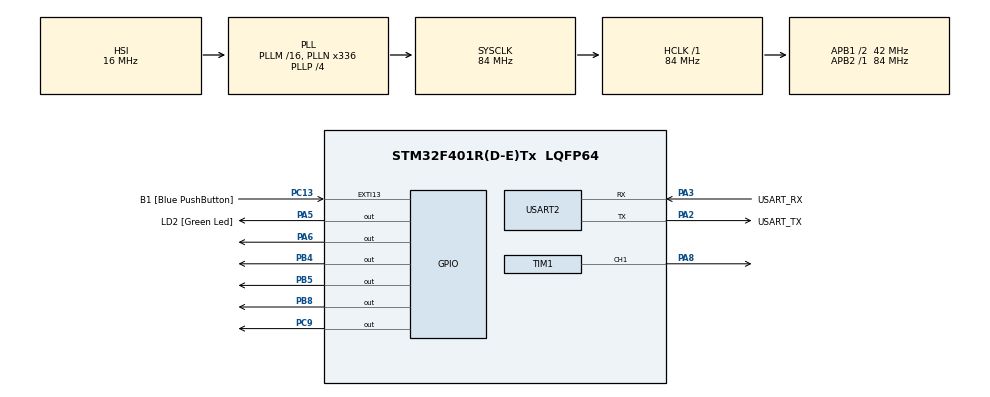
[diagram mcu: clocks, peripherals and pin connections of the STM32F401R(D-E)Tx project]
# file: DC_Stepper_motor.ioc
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Mcu.Family=STM32F4
Mcu.Name=STM32F401R(D-E)Tx
Mcu.Package=LQFP64
NVIC.PriorityGroup=NVIC_PRIORITYGROUP_4
PA13.GPIO_Label=TMS
PA13.Mode=Trace_Asynchronous_SW
PA13.Signal=SYS_JTMS-SWDIO
PA14.GPIO_Label=TCK
PA14.Mode=Trace_Asynchronous_SW
PA14.Signal=SYS_JTCK-SWCLK
PA2.GPIO_Label=USART_TX
PA2.GPIO_Mode=GPIO_MODE_AF_PP
PA2.GPIO_PuPd=GPIO_NOPULL
PA2.GPIO_Speed=GPIO_SPEED_FREQ_LOW
PA2.Mode=Asynchronous
PA2.Signal=USART2_TX
PA3.GPIO_Label=USART_RX
PA3.GPIO_Mode=GPIO_MODE_AF_PP
PA3.GPIO_PuPd=GPIO_NOPULL
PA3.GPIO_Speed=GPIO_SPEED_FREQ_LOW
PA3.Mode=Asynchronous
PA3.Signal=USART2_RX
PA5.GPIO_Label=LD2 [Green Led]
PA5.GPIO_Mode=GPIO_MODE_OUTPUT_PP
PA5.GPIO_PuPd=GPIO_NOPULL
PA5.GPIO_Speed=GPIO_SPEED_FREQ_LOW
PA5.Signal=GPIO_Output
PA6.Signal=GPIO_Output
PA8.Signal=S_TIM1_CH1
PB3.GPIO_Label=SWO
PB3.Mode=Trace_Asynchronous_SW
PB3.Signal=SYS_JTDO-SWO
PB4.Signal=GPIO_Output
PB5.Signal=GPIO_Output
PB8.Signal=GPIO_Output
PC13-ANTI_TAMP.GPIO_Label=B1 [Blue PushButton]
PC13-ANTI_TAMP.GPIO_ModeDefaultEXTI=GPIO_MODE_IT_FALLING
PC13-ANTI_TAMP.GPIO_PuPd=GPIO_NOPULL
PC13-ANTI_TAMP.Signal=GPXTI13
PC14-OSC32_IN.Mode=LSE-External-Oscillator
PC14-OSC32_IN.Signal=RCC_OSC32_IN
PC15-OSC32_OUT.Mode=LSE-External-Oscillator
PC15-OSC32_OUT.Signal=RCC_OSC32_OUT
PC9.Signal=GPIO_Output
PH0\ -\ OSC_IN.Mode=HSE-External-Clock-Source
PH0\ -\ OSC_IN.Signal=RCC_OSC_IN
PH1\ -\ OSC_OUT.Mode=HSE-External-Clock-Source
PH1\ -\ OSC_OUT.Signal=RCC_OSC_OUT
ProjectManager.HeapSize=0x200
ProjectManager.StackSize=0x400
ProjectManager.TargetToolchain=STM32CubeIDE
RCC.48MHZClocksFreq_Value=48000000
RCC.AHBFreq_Value=84000000
RCC.APB1CLKDivider=RCC_HCLK_DIV2
RCC.APB1Freq_Value=42000000
RCC.APB1TimFreq_Value=84000000
RCC.APB2Freq_Value=84000000
RCC.APB2TimFreq_Value=84000000
RCC.CortexFreq_Value=84000000
RCC.HCLKFreq_Value=84000000
RCC.HSE_VALUE=8000000
RCC.HSI_VALUE=16000000
RCC.PLLN=336
RCC.PLLP=RCC_PLLP_DIV4
RCC.PLLQ=7
RCC.SYSCLKFreq_VALUE=84000000
RCC.SYSCLKSource=RCC_SYSCLKSOURCE_PLLCLK
RCC.VCOOutputFreq_Value=336000000
SH.S_TIM1_CH1.0=TIM1_CH1,PWM Generation1 CH1
TIM1.Channel-PWM\ Generation1\ CH1=TIM_CHANNEL_1
TIM1.Period=255
TIM1.Prescaler=32
USART2.VirtualMode=VM_ASYNC
VP_TIM1_VS_ClockSourceINT.Mode=Internal
board=NUCLEO-F401RE

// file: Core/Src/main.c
/* USER CODE BEGIN Header */
/**
  ******************************************************************************
  * @file           : main.c
  * @brief          : Main program body
  ******************************************************************************
  * @attention
  *
  * Copyright (c) 2025 STMicroelectronics.
  * All rights reserved.
  *
  * This software is licensed under terms that can be found in the LICENSE file
  * in the root directory of this software component.
  * If no LICENSE file comes with this software, it is provided AS-IS.
  *
  ******************************************************************************
  */
/* USER CODE END Header */
#include "main.h"

TIM_HandleTypeDef htim1;

UART_HandleTypeDef huart2;

/* USER CODE BEGIN PV */
#define STEP_PIN GPIO_PIN_8
#define STEP_PORT GPIOB
#define DIR_PIN GPIO_PIN_6
#define DIR_PORT GPIOA
/* USER CODE END PV */

void SystemClock_Config(void);
static void MX_GPIO_Init(void);
static void MX_USART2_UART_Init(void);
static void MX_TIM1_Init(void);

int main(void)
{

  /* MCU Configuration--------------------------------------------------------*/

  /* Reset of all peripherals, Initializes the Flash interface and the Systick. */
  HAL_Init();

  /* Configure the system clock */
  SystemClock_Config();

  /* Initialize all configured peripherals */
  MX_GPIO_Init();
  MX_USART2_UART_Init();
  MX_TIM1_Init();
  /* USER CODE BEGIN 2 */
//  HAL_TIM_PWM_Start(&htim1, TIM_CHANNEL_2);
  /* USER CODE END 2 */

  /* Infinite loop */
  while (1)
  {

    /* USER CODE BEGIN 3 */
//	  static int step_count = 0;
	  //	 static int total_steps = 200;
	 static uint32_t last_step_time = 0;
	 static int step_state = 0;
	 static int direction = 1;
	 int step_delay = 1;

	 HAL_GPIO_WritePin(DIR_PORT, DIR_PIN, direction ? GPIO_PIN_SET : GPIO_PIN_RESET);

	 if ((HAL_GetTick() - last_step_time) >= step_delay) {
		 last_step_time = HAL_GetTick();

		 if (step_state == 0) {
			 HAL_GPIO_WritePin(STEP_PORT, STEP_PIN, GPIO_PIN_SET); // Step HIGH
			 step_state = 1;
		 } else {
			 HAL_GPIO_WritePin(STEP_PORT, STEP_PIN, GPIO_PIN_RESET); // Step LOW
			 step_state = 0;
  //			 step_count++;
		 }
	 }
	HAL_GPIO_WritePin(GPIOB, GPIO_PIN_4, 1);
	//	HAL_GPIO_WritePin(GPIOB, GPIO_PIN_5, 0);
	TIM1->CCR1 = 255;
	HAL_TIM_PWM_Start(&htim1, TIM_CHANNEL_1);
//	HAL_Delay(3000);
//	HAL_GPIO_WritePin(GPIOB, GPIO_PIN_4, 0);
//	//	HAL_GPIO_WritePin(GPIOB, GPIO_PIN_5, 1);
//	TIM1->CCR1 = 255;
//	HAL_TIM_PWM_Start(&htim1, TIM_CHANNEL_1);
//	HAL_Delay(3000);
  }
  /* USER CODE END 3 */
}

void SystemClock_Config(void)
{
  RCC_OscInitTypeDef RCC_OscInitStruct = {0};
  RCC_ClkInitTypeDef RCC_ClkInitStruct = {0};

  /** Configure the main internal regulator output voltage
  */
  __HAL_RCC_PWR_CLK_ENABLE();
  __HAL_PWR_VOLTAGESCALING_CONFIG(PWR_REGULATOR_VOLTAGE_SCALE2);

  /** Initializes the RCC Oscillators according to the specified parameters
  * in the RCC_OscInitTypeDef structure.
  */
  RCC_OscInitStruct.OscillatorType = RCC_OSCILLATORTYPE_HSI;
  RCC_OscInitStruct.HSIState = RCC_HSI_ON;
  RCC_OscInitStruct.HSICalibrationValue = RCC_HSICALIBRATION_DEFAULT;
  RCC_OscInitStruct.PLL.PLLState = RCC_PLL_ON;
  RCC_OscInitStruct.PLL.PLLSource = RCC_PLLSOURCE_HSI;
  RCC_OscInitStruct.PLL.PLLM = 16;
  RCC_OscInitStruct.PLL.PLLN = 336;
  RCC_OscInitStruct.PLL.PLLP = RCC_PLLP_DIV4;
  RCC_OscInitStruct.PLL.PLLQ = 7;
  if (HAL_RCC_OscConfig(&RCC_OscInitStruct) != HAL_OK)
  {
    Error_Handler();
  }

  /** Initializes the CPU, AHB and APB buses clocks
  */
  RCC_ClkInitStruct.ClockType = RCC_CLOCKTYPE_HCLK|RCC_CLOCKTYPE_SYSCLK
                              |RCC_CLOCKTYPE_PCLK1|RCC_CLOCKTYPE_PCLK2;
  RCC_ClkInitStruct.SYSCLKSource = RCC_SYSCLKSOURCE_PLLCLK;
  RCC_ClkInitStruct.AHBCLKDivider = RCC_SYSCLK_DIV1;
  RCC_ClkInitStruct.APB1CLKDivider = RCC_HCLK_DIV2;
  RCC_ClkInitStruct.APB2CLKDivider = RCC_HCLK_DIV1;

  if (HAL_RCC_ClockConfig(&RCC_ClkInitStruct, FLASH_LATENCY_2) != HAL_OK)
  {
    Error_Handler();
  }
}

static void MX_TIM1_Init(void)
{

  TIM_ClockConfigTypeDef sClockSourceConfig = {0};
  TIM_MasterConfigTypeDef sMasterConfig = {0};
  TIM_OC_InitTypeDef sConfigOC = {0};
  TIM_BreakDeadTimeConfigTypeDef sBreakDeadTimeConfig = {0};

  htim1.Instance = TIM1;
  htim1.Init.Prescaler = 32;
  htim1.Init.CounterMode = TIM_COUNTERMODE_UP;
  htim1.Init.Period = 255;
  htim1.Init.ClockDivision = TIM_CLOCKDIVISION_DIV1;
  htim1.Init.RepetitionCounter = 0;
  htim1.Init.AutoReloadPreload = TIM_AUTORELOAD_PRELOAD_DISABLE;
  if (HAL_TIM_Base_Init(&htim1) != HAL_OK)
  {
    Error_Handler();
  }
  sClockSourceConfig.ClockSource = TIM_CLOCKSOURCE_INTERNAL;
  if (HAL_TIM_ConfigClockSource(&htim1, &sClockSourceConfig) != HAL_OK)
  {
    Error_Handler();
  }
  if (HAL_TIM_PWM_Init(&htim1) != HAL_OK)
  {
    Error_Handler();
  }
  sMasterConfig.MasterOutputTrigger = TIM_TRGO_RESET;
  sMasterConfig.MasterSlaveMode = TIM_MASTERSLAVEMODE_DISABLE;
  if (HAL_TIMEx_MasterConfigSynchronization(&htim1, &sMasterConfig) != HAL_OK)
  {
    Error_Handler();
  }
  sConfigOC.OCMode = TIM_OCMODE_PWM1;
  sConfigOC.Pulse = 0;
  sConfigOC.OCPolarity = TIM_OCPOLARITY_HIGH;
  sConfigOC.OCNPolarity = TIM_OCNPOLARITY_HIGH;
  sConfigOC.OCFastMode = TIM_OCFAST_DISABLE;
  sConfigOC.OCIdleState = TIM_OCIDLESTATE_RESET;
  sConfigOC.OCNIdleState = TIM_OCNIDLESTATE_RESET;
  if (HAL_TIM_PWM_ConfigChannel(&htim1, &sConfigOC, TIM_CHANNEL_1) != HAL_OK)
  {
    Error_Handler();
  }
  sBreakDeadTimeConfig.OffStateRunMode = TIM_OSSR_DISABLE;
  sBreakDeadTimeConfig.OffStateIDLEMode = TIM_OSSI_DISABLE;
  sBreakDeadTimeConfig.LockLevel = TIM_LOCKLEVEL_OFF;
  sBreakDeadTimeConfig.DeadTime = 0;
  sBreakDeadTimeConfig.BreakState = TIM_BREAK_DISABLE;
  sBreakDeadTimeConfig.BreakPolarity = TIM_BREAKPOLARITY_HIGH;
  sBreakDeadTimeConfig.AutomaticOutput = TIM_AUTOMATICOUTPUT_DISABLE;
  if (HAL_TIMEx_ConfigBreakDeadTime(&htim1, &sBreakDeadTimeConfig) != HAL_OK)
  {
    Error_Handler();
  }
  HAL_TIM_MspPostInit(&htim1);

}

static void MX_USART2_UART_Init(void)
{

  huart2.Instance = USART2;
  huart2.Init.BaudRate = 115200;
  huart2.Init.WordLength = UART_WORDLENGTH_8B;
  huart2.Init.StopBits = UART_STOPBITS_1;
  huart2.Init.Parity = UART_PARITY_NONE;
  huart2.Init.Mode = UART_MODE_TX_RX;
  huart2.Init.HwFlowCtl = UART_HWCONTROL_NONE;
  huart2.Init.OverSampling = UART_OVERSAMPLING_16;
  if (HAL_UART_Init(&huart2) != HAL_OK)
  {
    Error_Handler();
  }

}

static void MX_GPIO_Init(void)
{
  GPIO_InitTypeDef GPIO_InitStruct = {0};

  /* GPIO Ports Clock Enable */
  __HAL_RCC_GPIOC_CLK_ENABLE();
  __HAL_RCC_GPIOH_CLK_ENABLE();
  __HAL_RCC_GPIOA_CLK_ENABLE();
  __HAL_RCC_GPIOB_CLK_ENABLE();

  /*Configure GPIO pin Output Level */
  HAL_GPIO_WritePin(GPIOA, LD2_Pin|GPIO_PIN_6, GPIO_PIN_RESET);

  /*Configure GPIO pin Output Level */
  HAL_GPIO_WritePin(GPIOC, GPIO_PIN_9, GPIO_PIN_RESET);

  /*Configure GPIO pin Output Level */
  HAL_GPIO_WritePin(GPIOB, GPIO_PIN_4|GPIO_PIN_5|GPIO_PIN_8, GPIO_PIN_RESET);

  /*Configure GPIO pin : B1_Pin */
  GPIO_InitStruct.Pin = B1_Pin;
  GPIO_InitStruct.Mode = GPIO_MODE_IT_FALLING;
  GPIO_InitStruct.Pull = GPIO_NOPULL;
  HAL_GPIO_Init(B1_GPIO_Port, &GPIO_InitStruct);

  /*Configure GPIO pins : LD2_Pin PA6 */
  GPIO_InitStruct.Pin = LD2_Pin|GPIO_PIN_6;
  GPIO_InitStruct.Mode = GPIO_MODE_OUTPUT_PP;
  GPIO_InitStruct.Pull = GPIO_NOPULL;
  GPIO_InitStruct.Speed = GPIO_SPEED_FREQ_LOW;
  HAL_GPIO_Init(GPIOA, &GPIO_InitStruct);

  /*Configure GPIO pin : PC9 */
  GPIO_InitStruct.Pin = GPIO_PIN_9;
  GPIO_InitStruct.Mode = GPIO_MODE_OUTPUT_PP;
  GPIO_InitStruct.Pull = GPIO_NOPULL;
  GPIO_InitStruct.Speed = GPIO_SPEED_FREQ_LOW;
  HAL_GPIO_Init(GPIOC, &GPIO_InitStruct);

  /*Configure GPIO pins : PB4 PB5 PB8 */
  GPIO_InitStruct.Pin = GPIO_PIN_4|GPIO_PIN_5|GPIO_PIN_8;
  GPIO_InitStruct.Mode = GPIO_MODE_OUTPUT_PP;
  GPIO_InitStruct.Pull = GPIO_NOPULL;
  GPIO_InitStruct.Speed = GPIO_SPEED_FREQ_LOW;
  HAL_GPIO_Init(GPIOB, &GPIO_InitStruct);

}

void Error_Handler(void)
{
  __disable_irq();
  while (1)
  {
  }
}
